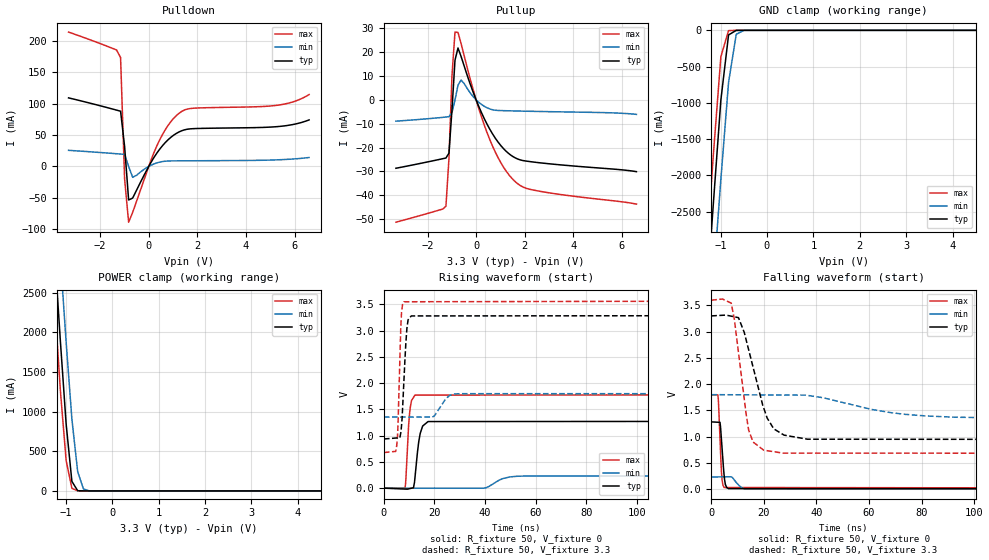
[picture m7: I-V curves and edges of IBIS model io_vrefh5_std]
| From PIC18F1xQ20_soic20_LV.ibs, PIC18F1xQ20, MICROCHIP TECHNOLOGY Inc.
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[Model] io_vrefh5_std
Model_type I/O
Vinl  =  0.8
Vinh  =  2
| Capacitance   typ   min   max
C_comp   4.850306698388732e-12   4.837904529908394e-12   5.092470012429453e-12
[Model Spec]
| Subparameter   typ   min   max
Vinl   1.5   0.81   1.65
Vinh   3.6   1.89   3.85
Vmeas   2.5   1.35   2.75
| Variables   typ   min   max
[GND Clamp Reference]   0   0   0
[POWER Clamp Reference]   3.3   1.8   3.6
[Pulldown Reference]   0   0   0
[Pullup Reference]   3.3   1.8   3.6
[Temperature Range]   25   125   -40
[Voltage Range]   3.3   1.8   3.6
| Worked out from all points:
|   slope of the pulldown table from 0 to 0.495 V, typ, clamps not added: 16.7 ohm
|   slope of the pullup table from 0 to 0.495 V, typ, clamps not added: 44.8 ohm
|   GND clamp passes 1 mA (typ) near -0.66 V on its own axis
|   POWER clamp passes 1 mA (typ) near -0.65 V on its own axis
|   falling waveform, R_fixture 50, V_fixture 0: 20-80 % time 1.15ns typ, 2.52ns min, 917ps max; typ from 1.28 V to 0 V
|   falling waveform, R_fixture 50, V_fixture 3.3: 20-80 % time 7.54ns typ, 25.7ns min, 4.47ns max; typ from 3.3 V to 0.936 V
|   rising waveform, R_fixture 50, V_fixture 0: 20-80 % time 1.9ns typ, 5.32ns min, 1.31ns max; typ from 0 V to 1.28 V
|   rising waveform, R_fixture 50, V_fixture 3.3: 20-80 % time 1.5ns typ, 3.86ns min, 1.04ns max; typ from 0.936 V to 3.3 V
[GND Clamp]
| Voltage   I(typ)   I(min)   I(max)
-3.3V     -21.98A    -22.27A    -21.86A
-1.324V   -3.922A    -4.931A    -3.289A
-1.159V   -2.42A     -3.489A    -1.745A
-993.1mV  -960.5mA   -2.053A    -363.1mA
-827.6mV  -63.5mA    -718.7mA   -3.822mA
-662.1mV  -773.4uA   -54.56mA   -476.9uA
-496.6mV  -18.17uA   -720.2uA   -5.006uA
6.6V      0A         0A         0A
[POWER Clamp]
| Voltage   I(typ)   I(min)   I(max)
-3.3V     21.48A     21.8A      21.33A
-1.366V   4.118A     5.086A     3.518A
-1.241V   3.004A     4.014A     2.376A
-1.117V   1.891A     2.941A     1.268A
-993.1mV  844.7mA    1.878A     384.1mA
-869mV    120.2mA    905.4mA    32.61mA
-744.8mV  3.111mA    245mA      1.387mA
-620.7mV  347.3uA    25.54mA    378.5uA
-496.6mV  24.89uA    1.111mA    41.86uA
6.6V      0A         0A         0A
[Pulldown]
| Voltage   I(typ)   I(min)   I(max)
-3.3V     109.4mA    25.68mA    214.5mA
-1.324V   89.88mA    20.27mA    185.9mA
-1.159V   88.12mA    19.77mA    173.8mA
-993.1mV  31.88mA    19.25mA    -20.25mA
-827.6mV  -53.52mA   -38.86uA   -89.02mA
-662.1mV  -50.57mA   -17.43mA   -73.42mA
341.4mV   21.7mA     5.717mA    33.47mA
796.6mV   42.57mA    8.672mA    65.49mA
1.252V    55.15mA    8.913mA    85mA
1.821V    60.27mA    9.023mA    92.84mA
5.286V    63.53mA    10.51mA    97.64mA
6.6V      74.28mA    14.23mA    114.7mA
[Pullup]
| Voltage   I(typ)   I(min)   I(max)
-3.3V     -28.7mA    -8.944mA   -51.33mA
-1.241V   -24.41mA   -7.199mA   -44.6mA
-1.117V   -22.37mA   -7.062mA   -24.69mA
-993.1mV  -4.232mA   -5.311mA   10.1mA
-869mV    16.63mA    -60.81uA   28.44mA
-744.8mV  21.75mA    6.171mA    28.29mA
-620.7mV  18.28mA    8.311mA    23.71mA
455.2mV   -10.29mA   -3.355mA   -13.89mA
1.024V    -19.27mA   -4.499mA   -26.48mA
1.593V    -24.26mA   -4.657mA   -34.17mA
2.503V    -26.27mA   -4.856mA   -38.14mA
6.6V      -30.13mA   -6.092mA   -43.74mA
[Ramp]
dV/dt_r   0.768807/1.8951n  0.139528/5.31519n  1.07649/1.30619n
dV/dt_f   1.41823/7.53697n  0.268061/25.7046n  1.75309/4.46699n
R_load = 50
[Falling Waveform]
R_fixture = 50
V_fixture = 0
V_fixture_min = 0
V_fixture_max = 0
| Time   V(typ)   V(min)   V(max)
0s        1.281V     232.5mV    1.794V
2.489ns   1.275V     233.4mV    1.796V
2.785ns   1.274V     233.5mV    1.616V
3.324ns   1.273V     233.7mV    961.3mV
3.907ns   919.4mV    233.9mV    306.2mV
4.909ns   256.9mV    234.3mV    31.06mV
5.353ns   91.78mV    234.5mV    31.04mV
6.612ns   10.43mV    234.9mV    30.97mV
13.24ns   10.3mV     3.226mV    30.6mV
562.5ns   43.87nV    27.69nV    24.05nV
[Falling Waveform]
R_fixture = 50
V_fixture = 3.3
V_fixture_min = 1.8
V_fixture_max = 3.6
| Time   V(typ)   V(min)   V(max)
0s        3.3V       1.8V       3.6V
7.581ns   3.295V     1.798V     3.544V
10.35ns   3.267V     1.797V     2.602V
13.26ns   2.845V     1.797V     1.43V
14.23ns   2.654V     1.796V     1.125V
15.9ns    2.325V     1.796V     898mV
21.26ns   1.355V     1.795V     732.7mV
27.38ns   1.039V     1.793V     686.3mV
92.87ns   949.7mV    1.37V      685.3mV
562.5ns   936.3mV    1.353V     678.2mV
[Rising Waveform]
R_fixture = 50
V_fixture = 0
V_fixture_min = 0
V_fixture_max = 0
| Time   V(typ)   V(min)   V(max)
0s        -41.17pV   16.31nV    -61.35pV
8.331ns   -17.24mV   78.28uV    -1.391mV
9.763ns   -14.03mV   91.73uV    1.191V
10.4ns    -6.742mV   97.68uV    1.53V
12.25ns   185.2mV    115.1uV    1.772V
14.35ns   1.041V     134.8uV    1.772V
17.46ns   1.268V     164uV      1.772V
39.44ns   1.268V     370.5uV    1.773V
56.09ns   1.269V     231.4mV    1.773V
562.5ns   1.281V     232.5mV    1.794V
[Rising Waveform]
R_fixture = 50
V_fixture = 3.3
V_fixture_min = 1.8
V_fixture_max = 3.6
| Time   V(typ)   V(min)   V(max)
0s        936.3mV    1.353V     678.2mV
5.077ns   955.5mV    1.353V     814.4mV
5.595ns   957.4mV    1.353V     1.239V
6.968ns   1.195V     1.353V     3.343V
7.852ns   1.985V     1.353V     3.548V
9.088ns   3.039V     1.353V     3.549V
10.8ns    3.279V     1.353V     3.549V
19.12ns   3.279V     1.353V     3.549V
30.53ns   3.28V      1.798V     3.551V
562.5ns   3.3V       1.8V       3.6V
